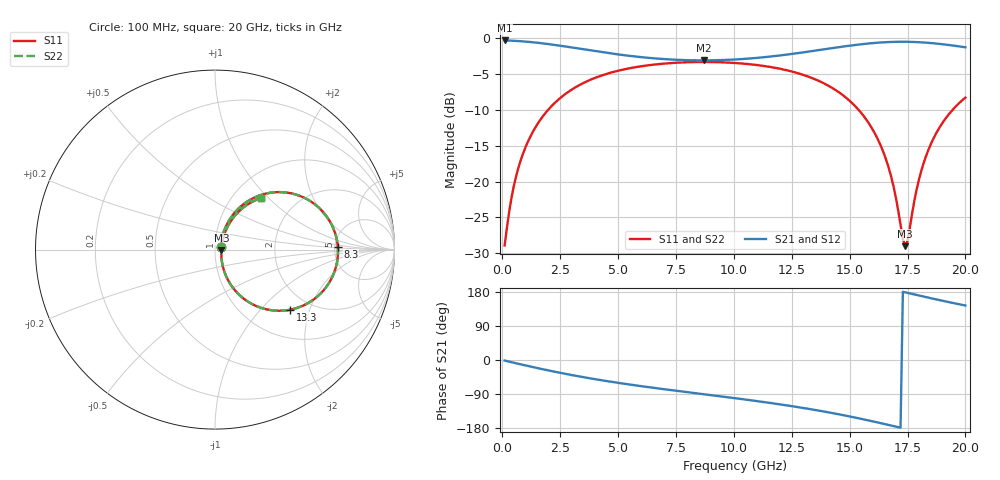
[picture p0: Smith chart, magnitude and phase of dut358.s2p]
! Touchstone file exported from HFSS 2026.1.0
!  File:  C:/ffzhzh/LocalFiles/Ansys_Project_Files/temp_train_TSV_RDL_358_1783038129_51716.aedt
!  Generated:  08:37:30 AM Jul  3, 2026
!  Design:  TSV_RDL
!  Project:  temp_train_TSV_RDL_358_1783038129_51716
! Variables:
!  h_bsmrdl = 2.53um
!  h_ox = 20um
!  h_rdl = 5um
!  h_sub = 66.26um
!  h_tmrdl = 4.76um
!  h_tsv = 66.26um
!  h_via = 3um
!  l_bsmrdl = 820.65um
!  l_sub = 3612.55um
!  l_tmrdl = 160.95um
!  m_sub = 200um
!  pitch = 53.12um
!  r_tsv = 3.69um
!  s_tmrdl = 10um
!  w_bsmrdl = 13.5um
!  w_sub = 500um
!  w_tmrdl = 22.1um
!  x_tsv_center1 = 172um
!  x_tsv_center2 = 1006.15um
!  x_tsv_center3 = 1189.2um
!  x_tsv_center4 = 2023.35um
!  x_tsv_center5 = 2206.4um
!  x_tsv_center6 = 3040.55um
# GHz S MA R 50.000000
! Terminal data exported
! Port[1] = TM_RDL1_1_T1
! Port[2] = TM_RDL5_1_T1
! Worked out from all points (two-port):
!   200 points, 100 MHz to 20 GHz, reference 50 ohm
!   highest |S21| = -0.28 dB at 100 MHz (marker M1); lowest = -3.1 dB at 8.7 GHz (marker M2)
!   |S21| within 3 dB of the highest: start of sweep to end of sweep
!   lowest |S11| = -29.0 dB at 17.4 GHz (marker M3), VSWR 1.07, Z = 53.7 - j0.361 ohm
!   |S11| at or under -10 dB: start of sweep to 1.97 GHz; 15.4 GHz to 19.44 GHz (4.04 GHz wide, 23.2 % of centre)
!   |S22| runs from -29.0 to -3.3 dB; largest |S21 - S12| = 1.7e-14
!   S11 on the Smith chart (normalised r, x): 100 MHz: 1.06, +0.04; 8.3 GHz: 5.32, +0.30; 13.3 GHz: 1.58, -1.48; 20 GHz: 1.34, +0.91
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0.1  0.03586 28.6  0.9688 -1.5  0.9688 -1.5  0.03586 28.6
! Gamma 0 0 0 0
! Port Impedance 50 0 50 0
0.5  0.09373 62.3  0.9634 -7.3  0.9634 -7.3  0.09373 62.3
0.8  0.1419 64.8  0.9567 -11.5  0.9567 -11.5  0.1419 64.8
1.2  0.2047 63.3  0.9451 -17.0  0.9451 -17.0  0.2047 63.3
2.2  0.3466 54.3  0.9046 -30.1  0.9046 -30.1  0.3466 54.3
3.5  0.4885 41.0  0.8407 -45.3  0.8407 -45.3  0.4885 41.0
5.2  0.6057 25.3  0.7667 -62.1  0.7667 -62.1  0.6057 25.3
6.8  0.6635 12.4  0.7216 -75.6  0.7216 -75.6  0.6635 12.4
8.3  0.6845 1.3  0.704 -87.3  0.704 -87.3  0.6845 1.3
8.7  0.6854 -1.7  0.7033 -90.3  0.7033 -90.3  0.6854 -1.7
10.1  0.6736 -12.0  0.7142 -101.2  0.7142 -101.2  0.6736 -12.0
13.3  0.5354 -38.7  0.8131 -129.6  0.8131 -129.6  0.5354 -38.7
13.4  0.5277 -39.7  0.8175 -130.7  0.8175 -130.7  0.5277 -39.7
15.5  0.3022 -60.7  0.9115 -155.3  0.9115 -155.3  0.3022 -60.7
16.2  0.2006 -66.3  0.9343 -164.6  0.9343 -164.6  0.2005 -66.4
16.7  0.123 -66.5  0.9447 -171.6  0.9447 -171.6  0.123 -66.6
17.4  0.03545 -5.4  0.9487 178.6  0.9487 178.6  0.0353 -5.4
17.5  0.03852 18.9  0.9483 177.1  0.9483 177.1  0.03838 19.0
18  0.1043 59.0  0.942 170.1  0.942 170.1  0.1042 59.1
18.4  0.1663 61.2  0.9326 164.5  0.9326 164.5  0.1663 61.3
19.1  0.2702 56.8  0.9084 155.1  0.9084 155.1  0.2702 56.9
20  0.3866 48.1  0.8678 143.8  0.8678 143.8  0.3865 48.2
